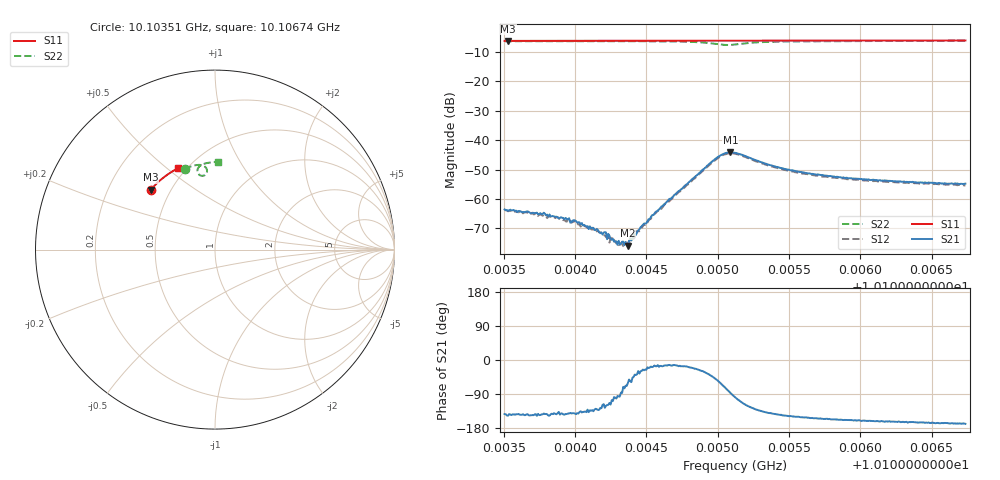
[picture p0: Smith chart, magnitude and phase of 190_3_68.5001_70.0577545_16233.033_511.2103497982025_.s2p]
#  HZ  S  RI  R  50.00
! Rohde & Schwarz Vector Network Analyzer
! Rohde-Schwarz,ZNB20-2Port,1311601062101988,3.16
! Created: UTC 3/20/2024, 5:12:13 PM
! freq[Hz]  re:S11  im:S11  re:S21  im:S21  re:S12  im:S12  re:S22  im:S22
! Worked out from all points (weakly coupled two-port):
!   401 points, 10.10351 GHz to 10.10674 GHz, reference 50 ohm
!   highest |S21| = -44.10 dB at 10.10509 GHz (marker M1); lowest = -75.9 dB at 10.10437 GHz (marker M2)
!   lowest |S11| = -6.2 dB at 10.10353 GHz (marker M3), VSWR 2.92, Z = 19.4 + j17.1 ohm
!   |S11| at or under -10 dB: nowhere
!   |S22| runs from -7.6 to -6.2 dB; largest |S21 - S12| = 0.00066
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1.0103507e10  -0.359 0.3327  -0.00053 -0.000404  -0.000484 -0.000443  -0.1693 0.451
1.0103531e10  -0.3579 0.3337  -0.00053 -0.000347  -0.000463 -0.000412  -0.1679 0.4514
1.0103773e10  -0.3482 0.3449  -0.000448 -0.000335  -0.000386 -0.000347  -0.1523 0.4576
1.0104048e10  -0.3367 0.3572  -0.000292 -0.00026  -0.000245 -0.000276  -0.1338 0.4637
1.0104201e10  -0.3302 0.3637  -0.00012 -0.000241  -0.000119 -0.000211  -0.1227 0.4668
1.0104234e10  -0.3289 0.3652  -0.00012 -0.000225  -8.92e-05 -0.000201  -0.1204 0.4675
1.0104266e10  -0.3273 0.3665  -6.66e-05 -0.000201  -2.45e-05 -0.000227  -0.118 0.468
1.0104298e10  -0.3261 0.3679  -1.43e-05 -0.000166  -2.46e-05 -0.000185  -0.1154 0.4686
1.0104322e10  -0.3249 0.3689  1.21e-05 -0.000174  3.01e-05 -0.000175  -0.1136 0.4691
1.0104355e10  -0.3236 0.3702  6.96e-05 -0.000171  8.43e-05 -0.000163  -0.1111 0.4696
1.0104371e10  -0.3228 0.3709  7.74e-05 -0.00014  0.000114 -0.000138  -0.1098 0.4699
1.0104403e10  -0.3214 0.3723  0.000146 -0.000156  0.000163 -0.000143  -0.107 0.4703
1.0104444e10  -0.3195 0.3739  0.000255 -0.000142  0.000253 -0.000144  -0.1036 0.4708
1.0104589e10  -0.3131 0.3799  0.000632 -0.000204  0.000615 -0.000117  -0.09 0.472
1.0104977e10  -0.2949 0.395  0.00315 -0.00343  0.00334 -0.00296  -0.0443 0.436
1.0105033e10  -0.2923 0.397  0.00233 -0.00523  0.00276 -0.0048  -0.0535 0.4176
1.010509e10  -0.2898 0.399  0.000329 -0.00623  0.000913 -0.00592  -0.075 0.4113
1.0105122e10  -0.2885 0.4002  -0.000861 -0.00604  -0.000296 -0.00587  -0.0863 0.4158
1.0105421e10  -0.2743 0.4114  -0.00282 -0.00208  -0.00251 -0.00222  -0.0812 0.4681
1.0105663e10  -0.262 0.4199  -0.00239 -0.00122  -0.00218 -0.00136  -0.0593 0.4787
1.0106204e10  -0.2344 0.4375  -0.00193 -0.000646  -0.00179 -0.000744  -0.0186 0.4864
1.0106737e10  -0.2062 0.4529  -0.00179 -0.000368  -0.00164 -0.000502  0.0178 0.4885
